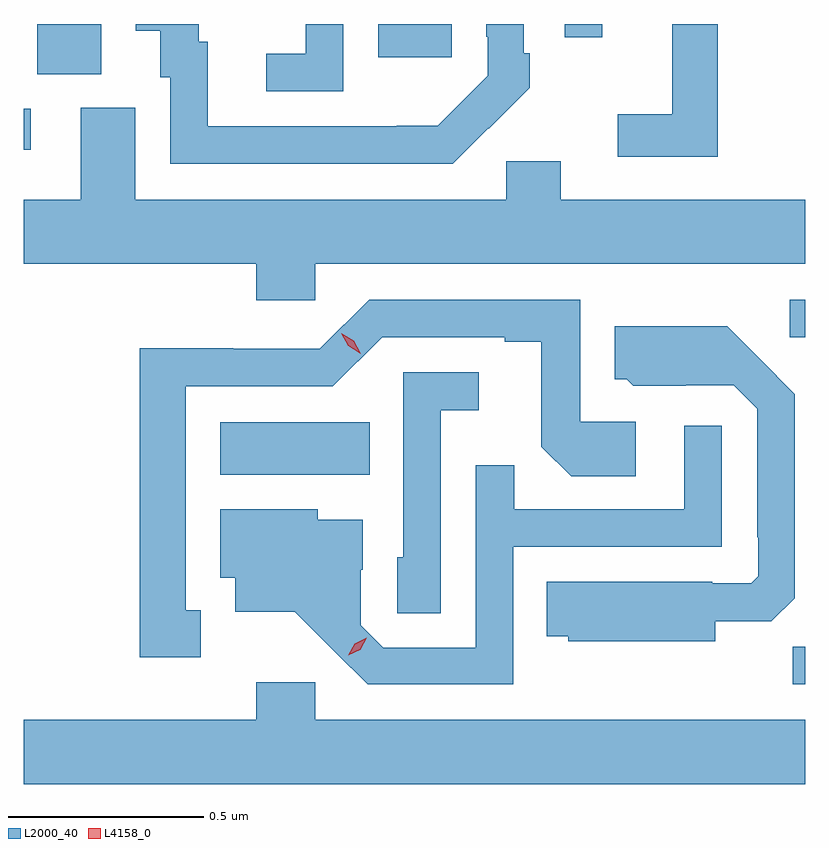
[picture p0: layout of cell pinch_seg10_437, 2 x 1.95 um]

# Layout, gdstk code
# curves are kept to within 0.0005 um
import gdstk
lib = gdstk.Library(unit=1e-6, precision=1e-09)
def R(c, l, rs):  # rectangles x0, y0, x1, y1
    for r in rs: c.add(gdstk.rectangle(r[:2], r[2:], *l))
def P(c, l, *ps):  # polygons
    for p in ps: c.add(gdstk.Polygon(p, *l))
L2000_40 = (2000, 40)
L4158_0 = (4158, 0)

pinch_seg10_437 = lib.new_cell('pinch_seg10_437')
R(pinch_seg10_437, L2000_40, [(378.598,1313.892,378.63,1313.987), (377.132,1314.428,377.516,1314.562), (378.591,1314.78,378.63,1314.876), (376.63,1315.26,376.648,1315.365), (376.664,1315.453,376.828,1315.582), (377.537,1315.497,377.725,1315.582), (378.015,1315.548,378.111,1315.582)])
P(pinch_seg10_437, L2000_40, [(377.448,1315.582),(377.352,1315.582),(377.352,1315.506),(377.25,1315.506),(377.25,1315.41),(377.448,1315.41)],
  [(378.407,1315.582),(378.29,1315.582),(378.29,1315.351),(378.15,1315.351),(378.15,1315.242),(378.407,1315.242)],
  [(377.819,1315.315),(377.82,1315.314),(377.925,1315.419),(377.925,1315.507),(377.91,1315.507),(377.91,1315.582),(377.814,1315.582),(377.814,1315.549),(377.817,1315.549),(377.817,1315.449),(377.689,1315.321),(377.585,1315.321),(377.585,1315.32),(377.101,1315.32),(377.101,1315.536),(377.077,1315.536),(377.077,1315.582),(376.916,1315.582),(376.916,1315.565),(376.979,1315.565),(376.979,1315.446),(377.004,1315.446),(377.004,1315.224),(377.728,1315.224)],
  [(377.376,1314.968),(378.63,1314.968),(378.63,1315.132),(378.004,1315.132),(378.004,1315.23),(377.865,1315.23),(377.865,1315.132),(376.915,1315.132),(376.915,1315.368),(376.775,1315.368),(376.775,1315.132),(376.63,1315.132),(376.63,1314.968),(377.225,1314.968),(377.225,1314.875),(377.376,1314.875)],
  [(377.083,1314.081),(377.044,1314.081),(377.044,1314.654),(377.421,1314.654),(377.547,1314.78),(377.861,1314.78),(377.861,1314.768),(377.955,1314.768),(377.955,1314.5),(378.031,1314.424),(378.196,1314.424),(378.196,1314.564),(378.054,1314.564),(378.054,1314.876),(377.514,1314.876),(377.388,1314.75),(377.166,1314.75),(377.166,1314.752),(376.926,1314.752),(376.926,1313.961),(377.083,1313.961)],
  [(378.4,1314.053),(378.544,1314.053),(378.603,1314.112),(378.603,1314.634),(378.431,1314.808),(378.143,1314.808),(378.143,1314.672),(378.174,1314.672),(378.19,1314.656),(378.324,1314.656),(378.324,1314.657),(378.447,1314.657),(378.507,1314.597),(378.507,1314.268),(378.51,1314.268),(378.51,1314.168),(378.492,1314.15),(378.392,1314.15),(378.392,1314.154),(377.968,1314.154),(377.968,1314.014),(378.024,1314.014),(378.024,1314.002),(378.4,1314.002)],
  [(377.697,1314.593),(377.794,1314.593),(377.794,1314.69),(377.601,1314.69),(377.601,1314.216),(377.586,1314.216),(377.586,1314.073),(377.697,1314.073)],
  [(377.883,1314.243),(378.417,1314.243),(378.417,1314.553),(378.321,1314.553),(378.321,1314.339),(377.885,1314.339),(377.885,1314.452),(377.787,1314.452),(377.787,1313.985),(377.55,1313.985),(377.493,1314.042),(377.493,1314.184),(377.497,1314.184),(377.497,1314.313),(377.382,1314.313),(377.382,1314.34),(377.132,1314.34),(377.132,1314.164),(377.171,1314.164),(377.171,1314.077),(377.323,1314.077),(377.51,1313.892),(377.883,1313.892)],
  [(378.63,1313.8),(377.376,1313.8),(377.376,1313.896),(377.225,1313.896),(377.225,1313.8),(376.63,1313.8),(376.63,1313.636),(378.63,1313.636)])
P(pinch_seg10_437, L4158_0, [(377.46,1313.966),(377.46,1313.966),(377.477,1313.995),(377.508,1314.01),(377.508,1314.01),(377.508,1314.01),(377.491,1313.98),(377.46,1313.966)],
  [(377.492,1314.738),(377.46,1314.758),(377.443,1314.79),(377.443,1314.79),(377.443,1314.79),(377.475,1314.771),(377.492,1314.738),(377.492,1314.738)])

lib.write_gds('pinch_seg10_437.gds')
